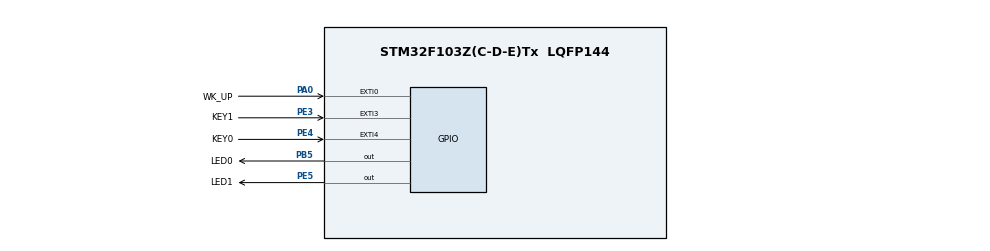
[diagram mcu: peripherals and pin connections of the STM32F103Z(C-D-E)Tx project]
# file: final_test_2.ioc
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Mcu.Family=STM32F1
Mcu.Name=STM32F103Z(C-D-E)Tx
Mcu.Package=LQFP144
NVIC.EXTI0_IRQn=true\:2\:0\:false\:false\:true\:true\:true\:true
NVIC.EXTI3_IRQn=true\:2\:0\:false\:false\:true\:true\:true\:true
NVIC.EXTI4_IRQn=true\:2\:0\:false\:false\:true\:true\:true\:true
NVIC.PriorityGroup=NVIC_PRIORITYGROUP_4
OSC_IN.Mode=HSE-External-Oscillator
OSC_IN.Signal=RCC_OSC_IN
OSC_OUT.Mode=HSE-External-Oscillator
OSC_OUT.Signal=RCC_OSC_OUT
PA0-WKUP.GPIO_Label=WK_UP
PA0-WKUP.GPIO_ModeDefaultEXTI=GPIO_MODE_IT_RISING
PA0-WKUP.GPIO_PuPd=GPIO_PULLDOWN
PA0-WKUP.Signal=GPXTI0
PA13.Mode=Serial_Wire
PA13.Signal=SYS_JTMS-SWDIO
PA14.Mode=Serial_Wire
PA14.Signal=SYS_JTCK-SWCLK
PB5.GPIO_Label=LED0
PB5.PinState=GPIO_PIN_SET
PB5.Signal=GPIO_Output
PE3.GPIO_Label=KEY1
PE3.GPIO_ModeDefaultEXTI=GPIO_MODE_IT_FALLING
PE3.GPIO_PuPd=GPIO_PULLUP
PE3.Signal=GPXTI3
PE4.GPIO_Label=KEY0
PE4.GPIO_ModeDefaultEXTI=GPIO_MODE_IT_FALLING
PE4.GPIO_PuPd=GPIO_PULLUP
PE4.Signal=GPXTI4
PE5.GPIO_Label=LED1
PE5.PinState=GPIO_PIN_SET
PE5.Signal=GPIO_Output
ProjectManager.HeapSize=0x200
ProjectManager.StackSize=0x400
ProjectManager.TargetToolchain=CMake
RCC.APB1Freq_Value=8000000
RCC.APB2Freq_Value=8000000
board=custom

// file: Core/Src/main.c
/* USER CODE BEGIN Header */
/**
  ******************************************************************************
  * @file           : main.c
  * @brief          : Main program body
  ******************************************************************************
  * @attention
  *
  * Copyright (c) 2026 STMicroelectronics.
  * All rights reserved.
  *
  * This software is licensed under terms that can be found in the LICENSE file
  * in the root directory of this software component.
  * If no LICENSE file comes with this software, it is provided AS-IS.
  *
  ******************************************************************************
  */
/* USER CODE END Header */
#include "main.h"

/* USER CODE BEGIN PD */
#define LED0_GPIO_PORT GPIOB
#define LED0_GPIO_PIN  GPIO_PIN_5
#define LED1_GPIO_PORT GPIOE
#define LED1_GPIO_PIN  GPIO_PIN_5

#define WKUP_GPIO_PORT GPIOA
#define WKUP_GPIO_PIN  GPIO_PIN_0
#define KEY0_GPIO_PORT GPIOE
#define KEY0_GPIO_PIN  GPIO_PIN_4
#define KEY1_GPIO_PORT GPIOE
#define KEY1_GPIO_PIN  GPIO_PIN_3

#define LED_ON   GPIO_PIN_RESET
#define LED_OFF  GPIO_PIN_SET

#define DEBOUNCE_MS 50u

/* USER CODE END PD */

/* USER CODE BEGIN PV */
static uint32_t wkupLastTick = 0u;
static uint32_t key0LastTick = 0u;
static uint32_t key1LastTick = 0u;

/* USER CODE END PV */

void SystemClock_Config(void);
static void MX_GPIO_Init(void);
/* USER CODE BEGIN PFP */
static void USER_GPIO_Init(void);
static uint8_t IsDebounced(uint32_t *lastTick);

/* USER CODE END PFP */

int main(void)
{

  /* MCU Configuration--------------------------------------------------------*/

  /* Reset of all peripherals, Initializes the Flash interface and the Systick. */
  HAL_Init();

  /* Configure the system clock */
  SystemClock_Config();

  /* Initialize all configured peripherals */
  MX_GPIO_Init();
  /* USER CODE BEGIN 2 */
  USER_GPIO_Init();

  /* USER CODE END 2 */

  /* Infinite loop */
    while (1)
    {
    }

}

void SystemClock_Config(void)
{
  RCC_OscInitTypeDef RCC_OscInitStruct = {0};
  RCC_ClkInitTypeDef RCC_ClkInitStruct = {0};

  /** Initializes the RCC Oscillators according to the specified parameters
  * in the RCC_OscInitTypeDef structure.
  */
  RCC_OscInitStruct.OscillatorType = RCC_OSCILLATORTYPE_HSI;
  RCC_OscInitStruct.HSIState = RCC_HSI_ON;
  RCC_OscInitStruct.HSICalibrationValue = RCC_HSICALIBRATION_DEFAULT;
  RCC_OscInitStruct.PLL.PLLState = RCC_PLL_NONE;
  if (HAL_RCC_OscConfig(&RCC_OscInitStruct) != HAL_OK)
  {
    Error_Handler();
  }

  /** Initializes the CPU, AHB and APB buses clocks
  */
  RCC_ClkInitStruct.ClockType = RCC_CLOCKTYPE_HCLK|RCC_CLOCKTYPE_SYSCLK
                              |RCC_CLOCKTYPE_PCLK1|RCC_CLOCKTYPE_PCLK2;
  RCC_ClkInitStruct.SYSCLKSource = RCC_SYSCLKSOURCE_HSI;
  RCC_ClkInitStruct.AHBCLKDivider = RCC_SYSCLK_DIV1;
  RCC_ClkInitStruct.APB1CLKDivider = RCC_HCLK_DIV1;
  RCC_ClkInitStruct.APB2CLKDivider = RCC_HCLK_DIV1;

  if (HAL_RCC_ClockConfig(&RCC_ClkInitStruct, FLASH_LATENCY_0) != HAL_OK)
  {
    Error_Handler();
  }
}

static void MX_GPIO_Init(void)
{

  /* GPIO Ports Clock Enable */
  __HAL_RCC_GPIOA_CLK_ENABLE();

}

/* USER CODE BEGIN 4 */
static void USER_GPIO_Init(void)
{
  GPIO_InitTypeDef GPIO_InitStruct = {0};

  __HAL_RCC_AFIO_CLK_ENABLE();
  __HAL_RCC_GPIOB_CLK_ENABLE();
  __HAL_RCC_GPIOE_CLK_ENABLE();
  __HAL_RCC_GPIOA_CLK_ENABLE();

  __HAL_AFIO_REMAP_SWJ_NOJTAG();

  HAL_GPIO_WritePin(LED0_GPIO_PORT, LED0_GPIO_PIN, LED_OFF);
  HAL_GPIO_WritePin(LED1_GPIO_PORT, LED1_GPIO_PIN, LED_OFF);

  GPIO_InitStruct.Pin = LED0_GPIO_PIN;
  GPIO_InitStruct.Mode = GPIO_MODE_OUTPUT_PP;
  GPIO_InitStruct.Pull = GPIO_NOPULL;
  GPIO_InitStruct.Speed = GPIO_SPEED_FREQ_LOW;
  HAL_GPIO_Init(LED0_GPIO_PORT, &GPIO_InitStruct);

  GPIO_InitStruct.Pin = LED1_GPIO_PIN;
  HAL_GPIO_Init(LED1_GPIO_PORT, &GPIO_InitStruct);

  GPIO_InitStruct.Pin = WKUP_GPIO_PIN;
  GPIO_InitStruct.Mode = GPIO_MODE_IT_RISING;
  GPIO_InitStruct.Pull = GPIO_PULLDOWN;
  HAL_GPIO_Init(WKUP_GPIO_PORT, &GPIO_InitStruct);

  GPIO_InitStruct.Mode = GPIO_MODE_IT_FALLING;
  GPIO_InitStruct.Pull = GPIO_PULLUP;
  GPIO_InitStruct.Pin = KEY0_GPIO_PIN;
  HAL_GPIO_Init(KEY0_GPIO_PORT, &GPIO_InitStruct);

  GPIO_InitStruct.Pin = KEY1_GPIO_PIN;
  HAL_GPIO_Init(KEY1_GPIO_PORT, &GPIO_InitStruct);

  HAL_NVIC_SetPriority(EXTI0_IRQn, 2, 0);
  HAL_NVIC_EnableIRQ(EXTI0_IRQn);

  HAL_NVIC_SetPriority(EXTI3_IRQn, 2, 0);
  HAL_NVIC_EnableIRQ(EXTI3_IRQn);

  HAL_NVIC_SetPriority(EXTI4_IRQn, 2, 0);
  HAL_NVIC_EnableIRQ(EXTI4_IRQn);
}

static uint8_t IsDebounced(uint32_t *lastTick)
{
  uint32_t now = HAL_GetTick();

  if ((*lastTick == 0u) || ((now - *lastTick) >= DEBOUNCE_MS))
  {
    *lastTick = now;
    return 1u;
  }

  return 0u;
}

void HAL_GPIO_EXTI_Callback(uint16_t GPIO_Pin)
{
  if (GPIO_Pin == WKUP_GPIO_PIN)
  {
    if (IsDebounced(&wkupLastTick))
    {
      HAL_GPIO_TogglePin(LED0_GPIO_PORT, LED0_GPIO_PIN);
    }
  }
  else if (GPIO_Pin == KEY0_GPIO_PIN)
  {
    if (IsDebounced(&key0LastTick))
    {
      HAL_GPIO_TogglePin(LED1_GPIO_PORT, LED1_GPIO_PIN);
    }
  }
  else if (GPIO_Pin == KEY1_GPIO_PIN)
  {
    if (IsDebounced(&key1LastTick))
    {
      HAL_GPIO_TogglePin(LED0_GPIO_PORT, LED0_GPIO_PIN);
      HAL_GPIO_TogglePin(LED1_GPIO_PORT, LED1_GPIO_PIN);
    }
  }
}
/* USER CODE END 4 */

void Error_Handler(void)
{
  __disable_irq();
  while (1)
  {
  }
}
